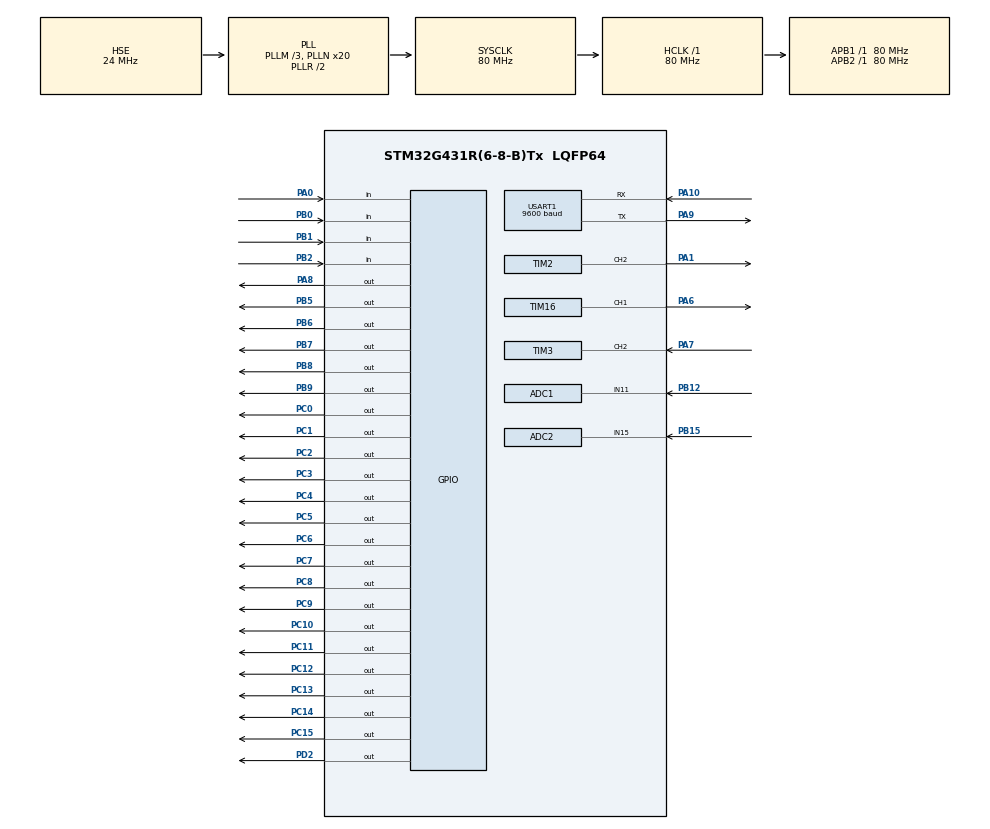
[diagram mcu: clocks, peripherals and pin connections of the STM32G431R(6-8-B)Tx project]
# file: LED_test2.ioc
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ADC1.Channel-0\#ChannelRegularConversion=ADC_CHANNEL_11
ADC1.NbrOfConversionFlag=1
ADC1.OffsetNumber-0\#ChannelRegularConversion=ADC_OFFSET_NONE
ADC1.Rank-0\#ChannelRegularConversion=1
ADC1.SamplingTime-0\#ChannelRegularConversion=ADC_SAMPLETIME_2CYCLES_5
ADC1.master=1
ADC2.Channel-0\#ChannelRegularConversion=ADC_CHANNEL_15
ADC2.NbrOfConversionFlag=1
ADC2.OffsetNumber-0\#ChannelRegularConversion=ADC_OFFSET_NONE
ADC2.Rank-0\#ChannelRegularConversion=1
ADC2.SamplingTime-0\#ChannelRegularConversion=ADC_SAMPLETIME_2CYCLES_5
Mcu.Family=STM32G4
Mcu.Name=STM32G431R(6-8-B)Tx
Mcu.Package=LQFP64
NVIC.PriorityGroup=NVIC_PRIORITYGROUP_4
NVIC.TIM1_BRK_TIM15_IRQn=true\:0\:0\:false\:false\:true\:true\:true\:true
NVIC.TIM2_IRQn=true\:0\:0\:false\:false\:true\:true\:true\:true
NVIC.TIM3_IRQn=true\:0\:0\:false\:false\:true\:true\:true\:true
NVIC.TIM4_IRQn=true\:0\:0\:false\:false\:true\:true\:true\:true
NVIC.USART1_IRQn=true\:0\:0\:false\:false\:true\:true\:true\:true
PA0.GPIO_PuPd=GPIO_PULLUP
PA0.Signal=GPIO_Input
PA1.Signal=S_TIM2_CH2
PA10.Mode=Asynchronous
PA10.Signal=USART1_RX
PA13.Mode=Serial_Wire
PA13.Signal=SYS_JTMS-SWDIO
PA14.Mode=Serial_Wire
PA14.Signal=SYS_JTCK-SWCLK
PA15.Signal=S_TIM2_CH1
PA6.Signal=S_TIM16_CH1
PA7.Signal=S_TIM3_CH2
PA8.Signal=GPIO_Output
PA9.Mode=Asynchronous
PA9.Signal=USART1_TX
PB0.GPIO_PuPd=GPIO_PULLUP
PB0.Signal=GPIO_Input
PB1.GPIO_PuPd=GPIO_PULLUP
PB1.Signal=GPIO_Input
PB12.Mode=IN11-Single-Ended
PB12.Signal=ADC1_IN11
PB15.Mode=IN15-Single-Ended
PB15.Signal=ADC2_IN15
PB2.GPIO_PuPd=GPIO_PULLUP
PB2.Signal=GPIO_Input
PB5.Signal=GPIO_Output
PB6.Signal=GPIO_Output
PB7.Signal=GPIO_Output
PB8-BOOT0.Signal=GPIO_Output
PB9.Signal=GPIO_Output
PC0.Signal=GPIO_Output
PC1.Signal=GPIO_Output
PC10.Signal=GPIO_Output
PC11.Signal=GPIO_Output
PC12.PinState=GPIO_PIN_SET
PC12.Signal=GPIO_Output
PC13.PinState=GPIO_PIN_SET
PC13.Signal=GPIO_Output
PC14-OSC32_IN.PinState=GPIO_PIN_SET
PC14-OSC32_IN.Signal=GPIO_Output
PC15-OSC32_OUT.PinState=GPIO_PIN_SET
PC15-OSC32_OUT.Signal=GPIO_Output
PC2.Signal=GPIO_Output
PC3.Signal=GPIO_Output
PC4.Signal=GPIO_Output
PC5.Signal=GPIO_Output
PC6.Signal=GPIO_Output
PC7.Signal=GPIO_Output
PC8.PinState=GPIO_PIN_SET
PC8.Signal=GPIO_Output
PC9.PinState=GPIO_PIN_SET
PC9.Signal=GPIO_Output
PD2.Signal=GPIO_Output
PF0-OSC_IN.Mode=HSE-External-Oscillator
PF0-OSC_IN.Signal=RCC_OSC_IN
PF1-OSC_OUT.Mode=HSE-External-Oscillator
PF1-OSC_OUT.Signal=RCC_OSC_OUT
ProjectManager.HeapSize=0x200
ProjectManager.StackSize=0x400
ProjectManager.TargetToolchain=MDK-ARM V5.32
RCC.ADC12Freq_Value=80000000
RCC.AHBFreq_Value=80000000
RCC.APB1Freq_Value=80000000
RCC.APB1TimFreq_Value=80000000
RCC.APB2Freq_Value=80000000
RCC.APB2TimFreq_Value=80000000
RCC.CortexFreq_Value=80000000
RCC.EXTERNAL_CLOCK_VALUE=12288000
RCC.HCLKFreq_Value=80000000
RCC.HSE_VALUE=24000000
RCC.HSI48_VALUE=48000000
RCC.HSI_VALUE=16000000
RCC.LSE_VALUE=32768
RCC.PLLM=RCC_PLLM_DIV3
RCC.PLLN=20
RCC.PLLSourceVirtual=RCC_PLLSOURCE_HSE
RCC.RTCClockSelection=RCC_RTCCLKSOURCE_HSE_DIV32
RCC.SYSCLKFreq_VALUE=80000000
RCC.SYSCLKSource=RCC_SYSCLKSOURCE_PLLCLK
RCC.USBFreq_Value=80000000
RCC.VCOOutputFreq_Value=160000000
RTC.AsynchPrediv=125
RTC.Date=2
RTC.Format=RTC_FORMAT_BCD
RTC.Hours=23
RTC.Minutes=58
RTC.Seconds=30
RTC.SynchPrediv=6000
RTC.Year=21
SH.S_TIM16_CH1.0=TIM16_CH1,PWM Generation1 CH1
SH.S_TIM2_CH1.0=TIM2_CH1
SH.S_TIM2_CH2.0=TIM2_CH2,PWM Generation2 CH2
SH.S_TIM3_CH2.0=TIM3_CH2,Input_Capture2_from_TI2
TIM1.PeriodNoDither=1000-1
TIM1.Prescaler=80-1
TIM16.Channel=TIM_CHANNEL_1
TIM16.PeriodNoDither=100-1
TIM16.Prescaler=800-1
TIM2.Channel-PWM\ Generation2\ CH2=TIM_CHANNEL_2
TIM2.PeriodNoDither=1000-1
TIM2.Prescaler=10-1
TIM3.Channel-Input_Capture2_from_TI2=TIM_CHANNEL_2
TIM3.PeriodNoDither=10000-1
TIM3.Prescaler=80-1
TIM4.PeriodNoDither=1000-1
TIM4.Prescaler=80-1
USART1.BaudRate=9600
USART1.VirtualMode-Asynchronous=VM_ASYNC
VP_RTC_VS_RTC_Activate.Mode=RTC_Enabled
VP_RTC_VS_RTC_Calendar.Mode=RTC_Calendar
VP_SYS_VS_DBSignals.Mode=DisableDeadBatterySignals
VP_TIM16_VS_ClockSourceINT.Mode=Enable_Timer
VP_TIM1_VS_ClockSourceINT.Mode=Internal
VP_TIM2_VS_ClockSourceINT.Mode=Internal
VP_TIM3_VS_ClockSourceINT.Mode=Internal
VP_TIM4_VS_ClockSourceINT.Mode=Internal
board=custom

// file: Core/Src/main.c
/* USER CODE BEGIN Header */
/**
  ******************************************************************************
  * @file           : main.c
  * @brief          : Main program body
  ******************************************************************************
  * @attention
  *
  * <h2><center>&copy; Copyright (c) 2022 STMicroelectronics.
  * All rights reserved.</center></h2>
  *
  * This software component is licensed by ST under BSD 3-Clause license,
  * the "License"; You may not use this file except in compliance with the
  * License. You may obtain a copy of the License at:
  *                        opensource.org/licenses/BSD-3-Clause
  *
  ******************************************************************************
  */
/* USER CODE END Header */
#include "main.h"
#include "adc.h"
#include "rtc.h"
#include "tim.h"
#include "usart.h"
#include "gpio.h"

/* USER CODE BEGIN Includes */
#include "led.h"
#include "lcd.h"
#include "stdio.h"
#include "string.h"
#include "badc.h"
#include "i2c - hal.h"
#include "struct_typedef.h"
#include "sys.h"
/* USER CODE END Includes */

/* USER CODE BEGIN PTD */
extern uchar single_key_flag[4],long_key_flag[4],double_key_flag[4];
extern uint key_time[4];
extern uint  frq,pulse;//捕获

extern double pwm_cont;//占空比
extern uint8_t pwm_mode;//0低频 1高频
extern uint8_t RK_mode;//0R 1K
uint16_t pwm_time_flag;//定时
Manu_Sign menu_mode=1;
uint8_t pwmmodecont=0;
extern int R_num;
extern int K_num;
extern double frq2v;
extern uint16_t pwm_cont_num;//占空比 num

extern double Hfrq2v;
extern double Lfrq2v;

uint8_t pwmcontrlflag=1; //1开锁
/* USER CODE END PTD */

void SystemClock_Config(void);

/* USER CODE BEGIN 0 */
/* printf重定向 */
int fputc(int ch, FILE *f)
{

    uint8_t temp[1] = {ch};
    HAL_UART_Transmit(&huart1, temp, 1, 2);//huart1需要根据你的配置修改
    return ch;
}
/* USER CODE END 0 */

int main(void)
{

  /* MCU Configuration--------------------------------------------------------*/

  /* Reset of all peripherals, Initializes the Flash interface and the Systick. */
  HAL_Init();

  /* Configure the system clock */
  SystemClock_Config();

  /* Initialize all configured peripherals */
  MX_GPIO_Init();
  MX_TIM3_Init();
  MX_USART1_UART_Init();
  MX_ADC1_Init();
  MX_ADC2_Init();
  MX_RTC_Init();
  MX_TIM16_Init();
  MX_TIM2_Init();
  MX_TIM4_Init();
  MX_TIM1_Init();
  /* USER CODE BEGIN 2 */
//	HAL_TIM_Base_Start_IT (&htim1);//tim1启动
	HAL_TIM_Base_Start_IT (&htim4);//tim4启动
	HAL_TIM_PWM_Start(&htim2,TIM_CHANNEL_2);//打开PWM
//	HAL_TIM_IC_Start_IT(&htim3,TIM_CHANNEL_1);
	HAL_TIM_IC_Start_IT(&htim3,TIM_CHANNEL_2);//捕获中断开启

	uint8_t temp[1];
	HAL_UART_Receive_IT(&huart1, temp, 1);//接收中断打开
	LED_Disp(0x00);//LED初始化
	uchar led_sta=0x00;

	LCD_Init();//LCD初始化
	LCD_Clear(White);
	LCD_SetBackColor(Black);
		LCD_SetTextColor(White);
	LCD_DisplayStringLine(Line0, (uint8_t *)"                    ");
	LCD_DisplayStringLine(Line1, (uint8_t *)"                    ");
	LCD_DisplayStringLine(Line2, (uint8_t *)"                    ");
	LCD_DisplayStringLine(Line3, (uint8_t *)"                    ");
	LCD_DisplayStringLine(Line4, (uint8_t *)"                    ");

LCD_SetBackColor(Black);
LCD_SetTextColor(White);

	LCD_DisplayStringLine(Line5, (uint8_t *)"                    ");
	LCD_DisplayStringLine(Line6, (uint8_t *)"                    ");
	LCD_DisplayStringLine(Line7, (uint8_t *)"                    ");
	LCD_DisplayStringLine(Line8, (uint8_t *)"                    ");
	LCD_DisplayStringLine(Line9, (uint8_t *)"                    ");

//	uchar er_data;//eeprom操作 复位一次count增加1
//	er_data=eeprom_read(1);
//	er_data++;
//	eeprom_write(1,er_data);
//	char text[30];
//	sprintf(text,"    count:%d",er_data);
//	LCD_DisplayStringLine(Line6,(uint8_t *)text);

  /* USER CODE END 2 */

  /* Infinite loop */
  /* USER CODE BEGIN WHILE */
extern	uint16_t arr;
  while (1)
  {
    /* USER CODE END WHILE */

    /* USER CODE BEGIN 3 */

		LCD_SetBackColor(Black);
		LCD_SetTextColor(White);
		char text[30];

		RTC_TimeTypeDef time;//RTC相关
		RTC_DateTypeDef date;
		HAL_RTC_GetTime(&hrtc,&time,RTC_FORMAT_BIN);//单独获取时间不获取日期结果有误。
		HAL_RTC_GetDate(&hrtc,&date,RTC_FORMAT_BIN);//RTC_FORMAT参数选BIN而不是BCD（与cubemx配置无关）否则要进行数值转换才能用

		if(menu_mode==recd_menu)//统计界面
		{
			LED_Disp(led_sta);
								sprintf(text,"         RECD");
			LCD_DisplayStringLine(Line2,(uint8_t *)text);

			sprintf(text,"      N= :%d          ",pwmmodecont);
		LCD_DisplayStringLine(Line4,(uint8_t *)text);

			sprintf(text,"      MH= :%.1f ",Hfrq2v);
		LCD_DisplayStringLine(Line5,(uint8_t *)text);

			sprintf(text,"      ML= :%.1f          ",Lfrq2v);
		LCD_DisplayStringLine(Line6,(uint8_t *)text);

		}
		if(menu_mode==data_menu)//数据界面
		{
			LED_Disp(led_sta|0x01);
					sprintf(text,"         DATA");
			LCD_DisplayStringLine(Line2,(uint8_t *)text);

			sprintf(text,"      M= :%d          ",menu_mode);
		LCD_DisplayStringLine(Line4,(uint8_t *)text);

			sprintf(text,"      P= :%.0f ",pwm_cont*100);
		LCD_DisplayStringLine(Line5,(uint8_t *)text);

			sprintf(text,"      V= :%.1f %c",frq2v,'%');
		LCD_DisplayStringLine(Line6,(uint8_t *)text);

		}
		if(menu_mode==para_menu)//数据界面
		{
			LED_Disp(led_sta);
			sprintf(text,"         PARA");
			LCD_DisplayStringLine(Line2,(uint8_t *)text);

			sprintf(text,"      R= :%d          ",R_num);
		LCD_DisplayStringLine(Line4,(uint8_t *)text);

			sprintf(text,"      K= :%d ",K_num);
		LCD_DisplayStringLine(Line5,(uint8_t *)text);

	}
		if(single_key_flag[0]==1)//1被单次按下 定义为“界面”按键
		{
//			led_sta=led_sta<<1;
//			LED_Disp(led_sta);

			menu_mode++;
			LCD_Clear(Black);
			if(menu_mode>3)
				menu_mode=1;

			RK_mode=1;
			single_key_flag[0]=0;//用完标记
		}
		if(long_key_flag[0]==1)//700ms长按键
		{
			LED_Disp(0x80);
			long_key_flag[0]=0;

		}
		if(double_key_flag[0]==1)//双击判断
		{
			LED_Disp(0xaa);
			double_key_flag[0]=0;
		}

		if(single_key_flag[1]==1)//2被单次按下
		{

			if(menu_mode==data_menu)//高低频率切换
			{
				if(arr==1000 || arr==2000){
					pwm_mode=!pwm_mode;
				pwmmodecont++;
				}

				}

			if(menu_mode==para_menu)//para
			{
				RK_mode=!RK_mode;
			}

			single_key_flag[1]=0;//用完标记
		}

				if(single_key_flag[2]==1)//1被单次按下 定义为“界面”按键
		{
			if(menu_mode==para_menu)//para
			{
				if(RK_mode)
				{
					R_num++;
				if(R_num>10)
					R_num=1;
				}
				else
				{
					K_num++;
				if(K_num>10)
					K_num=1;
				}

			}

			single_key_flag[2]=0;//用完标记
		}

				if(single_key_flag[3]==1)//1被单次按下 定义为“界面”按键
		{

			if(menu_mode==para_menu)//para
			{
				if(RK_mode)
				{
					R_num--;
				if(R_num<1)
					R_num=10;
				}
				else
				{
					K_num--;
				if(K_num<1)
					K_num=10;
				}
			}
			if(menu_mode==data_menu)//高低频率切换
			{
				pwmcontrlflag=1;
			}

			single_key_flag[3]=0;//用完标记
		}

		if(long_key_flag[3]==1)//700ms长按键
		{
			if(menu_mode==data_menu)//高低频率切换
			{
				pwmcontrlflag=0;

				}
			long_key_flag[3]=0;
		}
		if(pwmcontrlflag==0)
		{
			led_sta=led_sta|0x04;
		}
		else
			led_sta=led_sta&0xFB;

			if(arr!=1000 && arr!=2000){
				led_sta=led_sta|0x02;
			}
			else
			led_sta=led_sta&0xFD;

  }

  /* USER CODE END 3 */
}

void SystemClock_Config(void)
{
  RCC_OscInitTypeDef RCC_OscInitStruct = {0};
  RCC_ClkInitTypeDef RCC_ClkInitStruct = {0};
  RCC_PeriphCLKInitTypeDef PeriphClkInit = {0};

  /** Configure the main internal regulator output voltage
  */
  HAL_PWREx_ControlVoltageScaling(PWR_REGULATOR_VOLTAGE_SCALE1);
  /** Initializes the RCC Oscillators according to the specified parameters
  * in the RCC_OscInitTypeDef structure.
  */
  RCC_OscInitStruct.OscillatorType = RCC_OSCILLATORTYPE_HSE;
  RCC_OscInitStruct.HSEState = RCC_HSE_ON;
  RCC_OscInitStruct.PLL.PLLState = RCC_PLL_ON;
  RCC_OscInitStruct.PLL.PLLSource = RCC_PLLSOURCE_HSE;
  RCC_OscInitStruct.PLL.PLLM = RCC_PLLM_DIV3;
  RCC_OscInitStruct.PLL.PLLN = 20;
  RCC_OscInitStruct.PLL.PLLP = RCC_PLLP_DIV2;
  RCC_OscInitStruct.PLL.PLLQ = RCC_PLLQ_DIV2;
  RCC_OscInitStruct.PLL.PLLR = RCC_PLLR_DIV2;
  if (HAL_RCC_OscConfig(&RCC_OscInitStruct) != HAL_OK)
  {
    Error_Handler();
  }
  /** Initializes the CPU, AHB and APB buses clocks
  */
  RCC_ClkInitStruct.ClockType = RCC_CLOCKTYPE_HCLK|RCC_CLOCKTYPE_SYSCLK
                              |RCC_CLOCKTYPE_PCLK1|RCC_CLOCKTYPE_PCLK2;
  RCC_ClkInitStruct.SYSCLKSource = RCC_SYSCLKSOURCE_PLLCLK;
  RCC_ClkInitStruct.AHBCLKDivider = RCC_SYSCLK_DIV1;
  RCC_ClkInitStruct.APB1CLKDivider = RCC_HCLK_DIV1;
  RCC_ClkInitStruct.APB2CLKDivider = RCC_HCLK_DIV1;

  if (HAL_RCC_ClockConfig(&RCC_ClkInitStruct, FLASH_LATENCY_2) != HAL_OK)
  {
    Error_Handler();
  }
  /** Initializes the peripherals clocks
  */
  PeriphClkInit.PeriphClockSelection = RCC_PERIPHCLK_RTC|RCC_PERIPHCLK_USART1
                              |RCC_PERIPHCLK_ADC12;
  PeriphClkInit.Usart1ClockSelection = RCC_USART1CLKSOURCE_PCLK2;
  PeriphClkInit.Adc12ClockSelection = RCC_ADC12CLKSOURCE_SYSCLK;
  PeriphClkInit.RTCClockSelection = RCC_RTCCLKSOURCE_HSE_DIV32;

  if (HAL_RCCEx_PeriphCLKConfig(&PeriphClkInit) != HAL_OK)
  {
    Error_Handler();
  }
}

void Error_Handler(void)
{
  __disable_irq();
  while (1)
  {
  }
}

/************************ (C) COPYRIGHT STMicroelectronics *****END OF FILE****/
